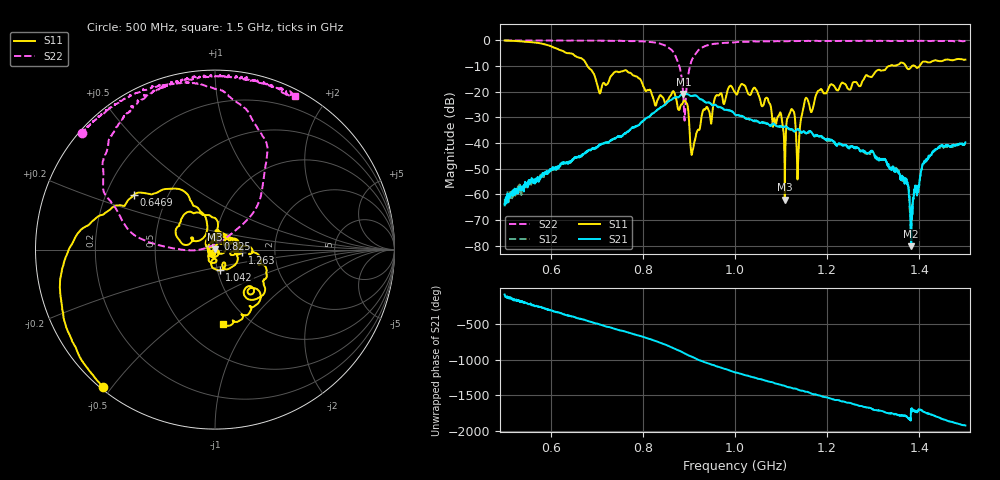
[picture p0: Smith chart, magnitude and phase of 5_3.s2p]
!Agilent Technologies,E8364B,US42250235,A.06.04.32
!Agilent E8364B: A.06.04.32
!Date: Friday, January 15, 2021 12:10:45
!Correction: S11(Full 2 Port(1,2)) S21(Full 2 Port(1,2)) S12(Full 2 Port(1,2)) S22(Full 2 Port(1,2))
!S2P File: Measurements: S11, S21, S12, S22:
# Hz S  dB  R 50
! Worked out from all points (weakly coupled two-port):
!   1601 points, 500 MHz to 1.5 GHz, reference 50 ohm
!   highest |S21| = -20.96 dB at 888.1 MHz (marker M1); lowest = -80.2 dB at 1.383 GHz (marker M2)
!   lowest |S11| = -62.1 dB at 1.108 GHz (marker M3), VSWR 1.00, Z = 50 + j0.0608 ohm
!   |S11| at or under -10 dB: 679.4 MHz to 1.337 GHz (657.2 MHz wide, 65.2 % of centre); 1.371 GHz to 1.384 GHz (13.96 MHz wide, 1.01 % of centre); 1.39 GHz to 1.401 GHz (11.08 MHz wide, 0.794 % of centre)
!   |S22| runs from -31.3 to -0.1 dB; largest |S21 - S12| = 0.0019
!   S11 on the Smith chart (normalised r, x): 500 MHz: 0.01, -0.48; 646.9 MHz: 0.32, +0.28; 825 MHz: 1.02, +0.12; 1.042 GHz: 1.03, -0.24; 1.263 GHz: 1.36, -0.04; 1.5 GHz: 0.76, -0.77
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5e8  -0.11 -129.1  -63.83 -91.8  -64.66 -114.7  -0.12 138.7
6.46875e8  -5.27 146.0  -46.66 -39.0  -46.86 -36.9  -0.15 124.4
6.66875e8  -7.07 131.0  -44.78 -72.8  -45.02 -74.7  -0.15 122.5
7.05625e8  -20.46 125.9  -40.81 -147.1  -40.84 -147.3  -0.21 117.8
8.25e8  -24.21 77.2  -28.06 -14.6  -28.10 -13.9  -0.90 91.0
8.3375e8  -22.76 105.3  -26.81 -35.3  -26.84 -35.5  -1.12 86.4
8.70625e8  -21.63 44.1  -22.24 -133.5  -22.30 -133.9  -6.13 56.4
8.88125e8  -23.76 42.6  -20.96 174.8  -21.02 174.9  -22.58 49.8
9.08125e8  -42.65 21.1  -21.64 115.7  -21.66 115.7  -7.04 170.5
9.34375e8  -27.07 123.6  -23.96 43.0  -23.95 44.2  -2.37 144.9
1e9  -20.28 -18.2  -28.99 -98.1  -28.93 -98.3  -0.82 120.6
1.0425e9  -18.50 -76.8  -31.23 -171.0  -31.52 -172.0  -0.50 114.7
1.108125e9  -62.10 129.2  -33.59 73.0  -33.72 69.8  -0.39 105.4
1.124375e9  -26.95 -131.8  -34.65 41.5  -34.98 40.6  -0.34 103.0
1.136875e9  -47.55 -36.1  -34.53 20.9  -34.89 18.8  -0.33 101.2
1.151875e9  -23.17 135.7  -35.83 -5.6  -36.11 -8.1  -0.33 99.4
1.166875e9  -27.67 70.1  -35.99 -37.6  -36.15 -36.8  -0.39 98.1
1.263125e9  -16.30 -5.9  -41.60 169.0  -41.81 166.5  -0.25 88.4
1.33375e9  -10.11 -23.0  -49.60 49.3  -49.22 48.3  -0.27 81.4
1.3825e9  -10.40 -45.3  -80.15 113.3  -75.59 135.1  -0.28 75.9
1.42625e9  -8.35 -58.1  -44.71 35.1  -44.00 28.4  -0.30 70.6
1.5e9  -7.56 -83.7  -39.77 -119.5  -40.32 -124.4  -0.30 62.4
